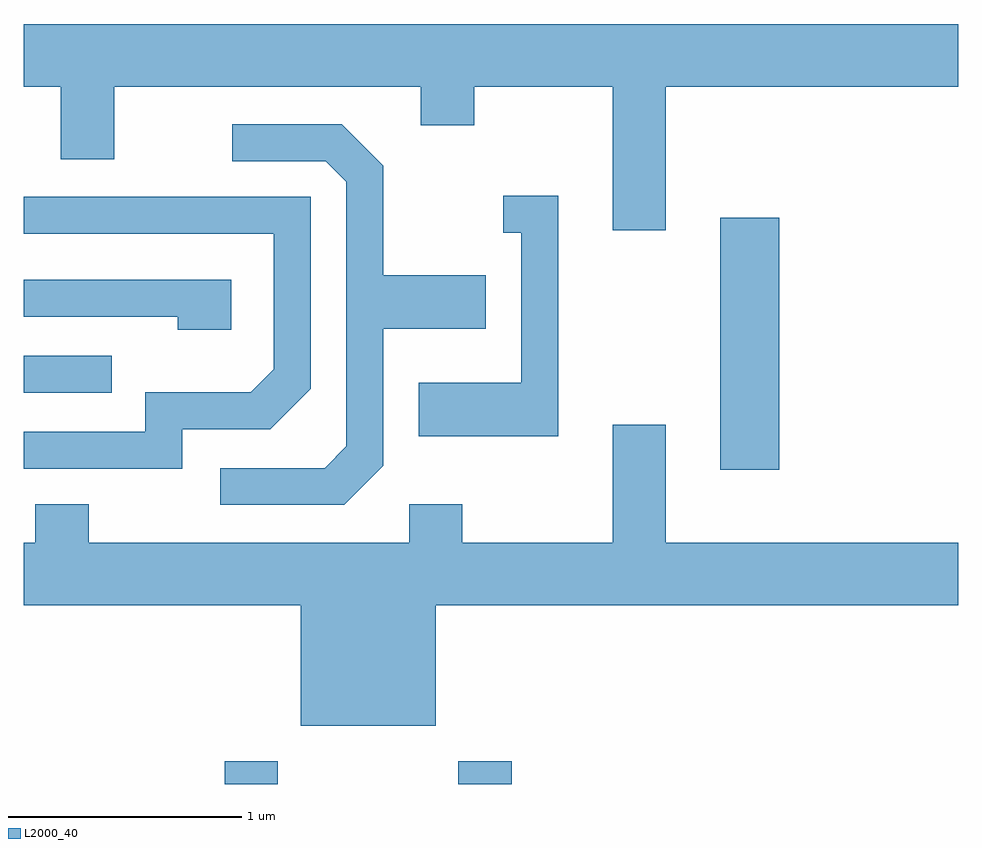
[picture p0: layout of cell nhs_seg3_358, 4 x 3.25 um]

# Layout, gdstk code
import gdstk
lib = gdstk.Library(unit=1e-6, precision=1e-09)
def R(c, l, rs):  # rectangles x0, y0, x1, y1
    for r in rs: c.add(gdstk.rectangle(r[:2], r[2:], *l))
def P(c, l, *ps):  # polygons
    for p in ps: c.add(gdstk.Polygon(p, *l))
L2000_40 = (2000, 40)

nhs_seg3_358 = lib.new_cell('nhs_seg3_358')
R(nhs_seg3_358, L2000_40, [(196.471,1151.892,196.699,1151.989), (197.471,1151.892,197.699,1151.989), (198.591,1153.236,198.844,1154.314), (195.611,1153.566,195.988,1153.724)])
P(nhs_seg3_358, L2000_40, [(198.359,1154.876),(199.611,1154.876),(199.611,1155.144),(195.611,1155.144),(195.611,1154.876),(195.771,1154.876),(195.771,1154.566),(195.999,1154.566),(195.999,1154.876),(197.311,1154.876),(197.311,1154.711),(197.539,1154.711),(197.539,1154.876),(198.131,1154.876),(198.131,1154.261),(198.359,1154.261)],
  [(197.149,1153.254),(197.149,1153.841),(197.589,1153.841),(197.589,1154.069),(197.149,1154.069),(197.149,1154.537),(196.972,1154.714),(196.503,1154.714),(196.503,1154.556),(196.904,1154.556),(196.991,1154.469),(196.991,1153.337),(196.899,1153.244),(196.453,1153.244),(196.453,1153.086),(196.982,1153.086)],
  [(197.899,1154.409),(197.663,1154.409),(197.663,1154.251),(197.741,1154.251),(197.741,1153.609),(197.301,1153.609),(197.301,1153.381),(197.899,1153.381)],
  [(196.289,1153.411),(196.667,1153.411),(196.839,1153.584),(196.839,1154.404),(195.611,1154.404),(195.611,1154.246),(196.681,1154.246),(196.681,1153.667),(196.584,1153.569),(196.131,1153.569),(196.131,1153.399),(195.611,1153.399),(195.611,1153.241),(196.289,1153.241)],
  [(196.499,1154.049),(195.611,1154.049),(195.611,1153.891),(196.271,1153.891),(196.271,1153.836),(196.499,1153.836)],
  [(197.374,1152.656),(199.611,1152.656),(199.611,1152.924),(198.359,1152.924),(198.359,1153.429),(198.131,1153.429),(198.131,1152.924),(197.489,1152.924),(197.489,1153.089),(197.261,1153.089),(197.261,1152.924),(195.889,1152.924),(195.889,1153.089),(195.661,1153.089),(195.661,1152.924),(195.611,1152.924),(195.611,1152.656),(196.796,1152.656),(196.796,1152.141),(197.374,1152.141)])

lib.write_gds('nhs_seg3_358.gds')
